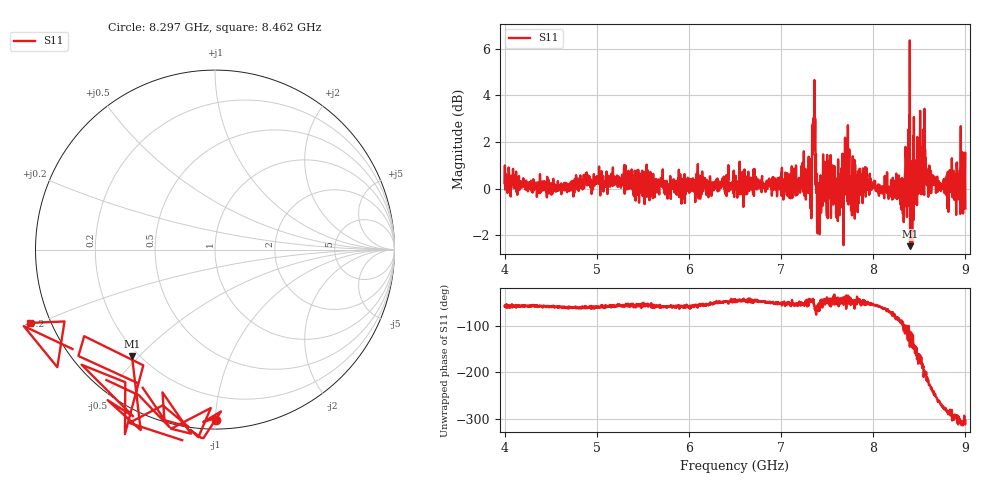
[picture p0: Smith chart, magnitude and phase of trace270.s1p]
! Created with skrf 1.8.0 (http://scikit-rf.org).
# Hz S RI R 50.0
!freq ReS11 ImS11
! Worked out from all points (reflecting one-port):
!   1601 points, 4 GHz to 9 GHz, reference 50 ohm
!   lowest |S11| = -2.5 dB at 8.4 GHz (marker M1), VSWR 7.09, Z = 8.7 - j23.8 ohm
!   phase of S11 starts at -57 deg and turns -247 deg over the sweep
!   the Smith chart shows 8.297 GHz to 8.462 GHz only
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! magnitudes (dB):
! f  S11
! 4 GHz  0.2
! 4.625 GHz  0.0
! 5.25 GHz  0.1
! 5.875 GHz  -0.1
! 6.5 GHz  0.4
! 7.125 GHz  0.5
! 7.309 GHz  0.9
! 7.347 GHz  2.8
! 7.362 GHz  4.7
! 7.397 GHz  -1.9
! 7.412 GHz  -0.6
! 7.525 GHz  0.9
! 7.591 GHz  0.4
! 7.691 GHz  0.5
! 7.75 GHz  -0.4
! 7.775 GHz  0.9
! 8.259 GHz  0.4
! 8.316 GHz  0.1
! 8.375 GHz  -0.5
! 8.4 GHz  -2.5
! 8.425 GHz  -1.2
! 8.459 GHz  -0.6
! 8.475 GHz  -0.7
! 8.531 GHz  1.1
! 8.606 GHz  -0.1
! 8.722 GHz  0.0
! 8.972 GHz  0.5
! 9 GHz  -0.8
